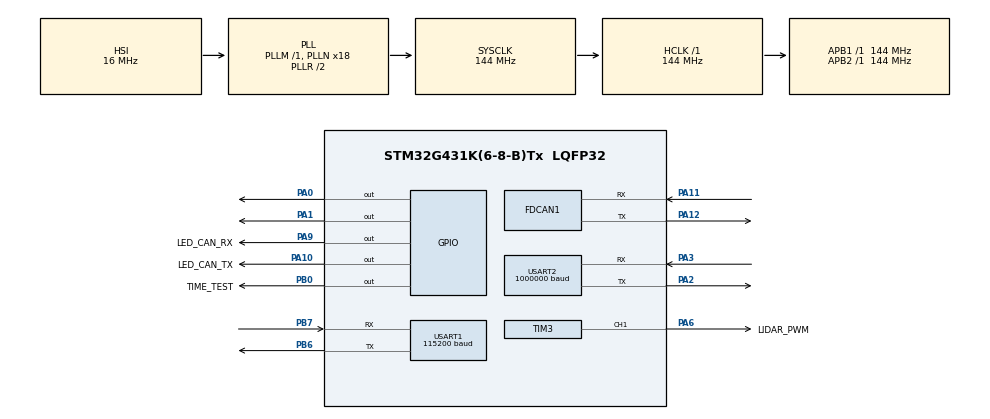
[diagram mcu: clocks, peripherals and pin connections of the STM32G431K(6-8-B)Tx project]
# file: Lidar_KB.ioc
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Dma.Request0=USART1_RX
Dma.Request1=USART1_TX
Dma.USART1_RX.0.Direction=DMA_PERIPH_TO_MEMORY
Dma.USART1_RX.0.EventEnable=DISABLE
Dma.USART1_RX.0.Instance=DMA1_Channel1
Dma.USART1_RX.0.MemDataAlignment=DMA_MDATAALIGN_BYTE
Dma.USART1_RX.0.MemInc=DMA_MINC_ENABLE
Dma.USART1_RX.0.Mode=DMA_CIRCULAR
Dma.USART1_RX.0.PeriphDataAlignment=DMA_PDATAALIGN_BYTE
Dma.USART1_RX.0.PeriphInc=DMA_PINC_DISABLE
Dma.USART1_RX.0.Polarity=HAL_DMAMUX_REQ_GEN_RISING
Dma.USART1_RX.0.Priority=DMA_PRIORITY_LOW
Dma.USART1_RX.0.RequestNumber=1
Dma.USART1_RX.0.SignalID=NONE
Dma.USART1_RX.0.SyncEnable=DISABLE
Dma.USART1_RX.0.SyncPolarity=HAL_DMAMUX_SYNC_NO_EVENT
Dma.USART1_RX.0.SyncRequestNumber=1
Dma.USART1_RX.0.SyncSignalID=NONE
Dma.USART1_TX.1.Direction=DMA_MEMORY_TO_PERIPH
Dma.USART1_TX.1.EventEnable=DISABLE
Dma.USART1_TX.1.Instance=DMA1_Channel2
Dma.USART1_TX.1.MemDataAlignment=DMA_MDATAALIGN_BYTE
Dma.USART1_TX.1.MemInc=DMA_MINC_ENABLE
Dma.USART1_TX.1.Mode=DMA_NORMAL
Dma.USART1_TX.1.PeriphDataAlignment=DMA_PDATAALIGN_BYTE
Dma.USART1_TX.1.PeriphInc=DMA_PINC_DISABLE
Dma.USART1_TX.1.Polarity=HAL_DMAMUX_REQ_GEN_RISING
Dma.USART1_TX.1.Priority=DMA_PRIORITY_LOW
Dma.USART1_TX.1.RequestNumber=1
Dma.USART1_TX.1.SignalID=NONE
Dma.USART1_TX.1.SyncEnable=DISABLE
Dma.USART1_TX.1.SyncPolarity=HAL_DMAMUX_SYNC_NO_EVENT
Dma.USART1_TX.1.SyncRequestNumber=1
Dma.USART1_TX.1.SyncSignalID=NONE
FDCAN1.CalculateBaudRateNominal=1800000
FDCAN1.CalculateTimeBitNominal=555
FDCAN1.CalculateTimeQuantumNominal=111.11111111111111
Mcu.Family=STM32G4
Mcu.Name=STM32G431K(6-8-B)Tx
Mcu.Package=LQFP32
NVIC.DMA1_Channel1_IRQn=true\:0\:0\:false\:false\:true\:false\:true\:true
NVIC.DMA1_Channel2_IRQn=true\:0\:0\:false\:false\:true\:false\:true\:true
NVIC.PriorityGroup=NVIC_PRIORITYGROUP_4
NVIC.TIM6_DAC_IRQn=true\:0\:0\:false\:false\:true\:true\:true\:true
NVIC.TIM7_IRQn=true\:0\:0\:false\:false\:true\:true\:true\:true
NVIC.USART1_IRQn=true\:0\:0\:false\:false\:true\:true\:true\:true
PA0.Signal=GPIO_Output
PA1.Signal=GPIO_Output
PA10.GPIO_Label=LED_CAN_TX
PA10.Signal=GPIO_Output
PA11.Mode=FDCAN_Activate
PA11.Signal=FDCAN1_RX
PA12.Mode=FDCAN_Activate
PA12.Signal=FDCAN1_TX
PA13.Mode=Trace_Asynchronous_SW
PA13.Signal=SYS_JTMS-SWDIO
PA14.Mode=Trace_Asynchronous_SW
PA14.Signal=SYS_JTCK-SWCLK
PA2.Mode=Asynchronous
PA2.Signal=USART2_TX
PA3.Mode=Asynchronous
PA3.Signal=USART2_RX
PA6.GPIO_Label=LIDAR_PWM
PA6.Signal=S_TIM3_CH1
PA9.GPIO_Label=LED_CAN_RX
PA9.Signal=GPIO_Output
PB0.GPIO_Label=TIME_TEST
PB0.Signal=GPIO_Output
PB3.Mode=Trace_Asynchronous_SW
PB3.Signal=SYS_JTDO-SWO
PB6.Mode=Asynchronous
PB6.Signal=USART1_TX
PB7.Mode=Asynchronous
PB7.Signal=USART1_RX
ProjectManager.HeapSize=0x200
ProjectManager.StackSize=0x400
ProjectManager.TargetToolchain=STM32CubeIDE
RCC.ADC12Freq_Value=144000000
RCC.AHBFreq_Value=144000000
RCC.APB1Freq_Value=144000000
RCC.APB1TimFreq_Value=144000000
RCC.APB2Freq_Value=144000000
RCC.APB2TimFreq_Value=144000000
RCC.CortexFreq_Value=144000000
RCC.EXTERNAL_CLOCK_VALUE=12288000
RCC.HCLKFreq_Value=144000000
RCC.HSE_VALUE=8000000
RCC.HSI48_VALUE=48000000
RCC.HSI_VALUE=16000000
RCC.LSE_VALUE=32768
RCC.PLLN=18
RCC.SYSCLKFreq_VALUE=144000000
RCC.SYSCLKSource=RCC_SYSCLKSOURCE_PLLCLK
RCC.USBFreq_Value=144000000
RCC.VCOOutputFreq_Value=288000000
SH.S_TIM3_CH1.0=TIM3_CH1,PWM Generation1 CH1
TIM3.Channel-PWM\ Generation1\ CH1=TIM_CHANNEL_1
TIM3.PeriodNoDither=5759
TIM6.PeriodNoDither=11999
TIM6.Prescaler=2
TIM7.PeriodNoDither=1439
TIM7.Prescaler=0
USART1.BaudRate=115200
USART1.VirtualMode-Asynchronous=VM_ASYNC
USART2.BaudRate=1000000
USART2.VirtualMode-Asynchronous=VM_ASYNC
VP_SYS_VS_DBSignals.Mode=DisableDeadBatterySignals
VP_TIM3_VS_ClockSourceINT.Mode=Internal
VP_TIM6_VS_ClockSourceINT.Mode=Enable_Timer
VP_TIM7_VS_ClockSourceINT.Mode=Enable_Timer
board=custom

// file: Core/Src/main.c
/* USER CODE BEGIN Header */
/**
  ******************************************************************************
  * @file           : main.c
  * @brief          : Main program body
  ******************************************************************************
  * @attention
  *
  * Copyright (c) 2024 STMicroelectronics.
  * All rights reserved.
  *
  * This software is licensed under terms that can be found in the LICENSE file
  * in the root directory of this software component.
  * If no LICENSE file comes with this software, it is provided AS-IS.
  *
  ******************************************************************************
  */
/* USER CODE END Header */
#include "main.h"

FDCAN_HandleTypeDef hfdcan1;

TIM_HandleTypeDef htim3;
TIM_HandleTypeDef htim6;
TIM_HandleTypeDef htim7;

UART_HandleTypeDef huart1;
UART_HandleTypeDef huart2;
DMA_HandleTypeDef hdma_usart1_rx;
DMA_HandleTypeDef hdma_usart1_tx;

void SystemClock_Config(void);
static void MX_GPIO_Init(void);
static void MX_DMA_Init(void);
static void MX_FDCAN1_Init(void);
static void MX_TIM3_Init(void);
static void MX_USART1_UART_Init(void);
static void MX_TIM6_Init(void);
static void MX_TIM7_Init(void);
static void MX_USART2_UART_Init(void);

int main(void)
{

  /* MCU Configuration--------------------------------------------------------*/

  /* Reset of all peripherals, Initializes the Flash interface and the Systick. */
  HAL_Init();

  /* Configure the system clock */
  SystemClock_Config();

  /* Initialize all configured peripherals */
  MX_GPIO_Init();
  MX_DMA_Init();
  MX_FDCAN1_Init();
  MX_TIM3_Init();
  MX_USART1_UART_Init();
  MX_TIM6_Init();
  MX_TIM7_Init();
  MX_USART2_UART_Init();
  /* USER CODE BEGIN 2 */
  HAL_UART_DMAStop(&huart1);
  HAL_NVIC_SetPriority(USART1_IRQn, 0, 0);
  HAL_NVIC_EnableIRQ(USART1_IRQn);

  Start_DMA(&huart1, 84);
  HAL_TIM_Base_Start_IT(&htim7);   /* Timer for  */
  /* USER CODE END 2 */

  /* Infinite loop */
  /* USER CODE BEGIN WHILE */
  // Lidar initialization
  // Lidar_Get_Samplerate(&huart1);
//  Lidar_Reset(&huart1);
//  HAL_Delay(5000);

  //Lidar_Get_Info(&huart1);
  //Lidar_Unknown(&huart1);
  //Lidar_Get_Info(&huart1);
  Lidar_Get_Health(&huart1);
  Lidar_Motor_Speed(&htim3, TIM_CHANNEL_1, 800, &htim6);
  //Lidar_Get_Lidar_Conf(&huart1, 0x01, 0x04, 0x00);
  Lidar_Stop(&huart1);

//  Debugging scan modes:

//  Lidar_Get_Lidar_Conf(&huart1, 0x70, 0x04, 0x00);
//  Lidar_Motor_Speed(&htim3, TIM_CHANNEL_1, 460);
//  Lidar_Stop(&huart1);
//  HAL_Delay(110);
//  Lidar_Get_Info(&huart1);
//  for(int i=0; i<5; i++){
//	  Lidar_Get_Lidar_Conf(&huart1, 0x71, 0x06, i);
//	  Lidar_Get_Lidar_Conf(&huart1, 0x74, 0x06, i);
//	  Lidar_Get_Lidar_Conf(&huart1, 0x75, 0x06, i);
//	  Lidar_Get_Lidar_Conf(&huart1, 0x7F, 0x06, i);
//	  Lidar_Get_Info(&huart1);
//  }

  Lidar_Get_Info(&huart1);
  //Lidar_Get_Info(&huart1);

  Lidar_Get_Lidar_Conf(&huart1, 0x01, 0x04, 0x00);

  //Lidar_Stop(&huart1);

  Lidar_Express_Scan(&huart1, &huart2, 0x00); // Legacy Express Scan

  uint32_t milis = HAL_GetTick();
  while (1)
  {
	if(HAL_GetTick() - milis > 10000) break;

	if(HAL_UART_GetError(&huart1) != HAL_OK){
		uint32_t error = HAL_UART_GetError(&huart1);
		break;
	}
    /* USER CODE END WHILE */

    /* USER CODE BEGIN 3 */
  }

  Lidar_Stop(&huart1);

  Lidar_Motor_Speed(&htim3, TIM_CHANNEL_1, 0, &htim6);
  Lidar_Motor_Stop(&htim3, TIM_CHANNEL_1);
  Lidar_Get_Health(&huart1);
  /* USER CODE END 3 */
}

void SystemClock_Config(void)
{
  RCC_OscInitTypeDef RCC_OscInitStruct = {0};
  RCC_ClkInitTypeDef RCC_ClkInitStruct = {0};

  /** Configure the main internal regulator output voltage
  */
  HAL_PWREx_ControlVoltageScaling(PWR_REGULATOR_VOLTAGE_SCALE1);

  /** Initializes the RCC Oscillators according to the specified parameters
  * in the RCC_OscInitTypeDef structure.
  */
  RCC_OscInitStruct.OscillatorType = RCC_OSCILLATORTYPE_HSI;
  RCC_OscInitStruct.HSIState = RCC_HSI_ON;
  RCC_OscInitStruct.HSICalibrationValue = RCC_HSICALIBRATION_DEFAULT;
  RCC_OscInitStruct.PLL.PLLState = RCC_PLL_ON;
  RCC_OscInitStruct.PLL.PLLSource = RCC_PLLSOURCE_HSI;
  RCC_OscInitStruct.PLL.PLLM = RCC_PLLM_DIV1;
  RCC_OscInitStruct.PLL.PLLN = 18;
  RCC_OscInitStruct.PLL.PLLP = RCC_PLLP_DIV2;
  RCC_OscInitStruct.PLL.PLLQ = RCC_PLLQ_DIV2;
  RCC_OscInitStruct.PLL.PLLR = RCC_PLLR_DIV2;
  if (HAL_RCC_OscConfig(&RCC_OscInitStruct) != HAL_OK)
  {
    Error_Handler();
  }

  /** Initializes the CPU, AHB and APB buses clocks
  */
  RCC_ClkInitStruct.ClockType = RCC_CLOCKTYPE_HCLK|RCC_CLOCKTYPE_SYSCLK
                              |RCC_CLOCKTYPE_PCLK1|RCC_CLOCKTYPE_PCLK2;
  RCC_ClkInitStruct.SYSCLKSource = RCC_SYSCLKSOURCE_PLLCLK;
  RCC_ClkInitStruct.AHBCLKDivider = RCC_SYSCLK_DIV1;
  RCC_ClkInitStruct.APB1CLKDivider = RCC_HCLK_DIV1;
  RCC_ClkInitStruct.APB2CLKDivider = RCC_HCLK_DIV1;

  if (HAL_RCC_ClockConfig(&RCC_ClkInitStruct, FLASH_LATENCY_4) != HAL_OK)
  {
    Error_Handler();
  }
}

static void MX_FDCAN1_Init(void)
{

  hfdcan1.Instance = FDCAN1;
  hfdcan1.Init.ClockDivider = FDCAN_CLOCK_DIV1;
  hfdcan1.Init.FrameFormat = FDCAN_FRAME_CLASSIC;
  hfdcan1.Init.Mode = FDCAN_MODE_NORMAL;
  hfdcan1.Init.AutoRetransmission = DISABLE;
  hfdcan1.Init.TransmitPause = DISABLE;
  hfdcan1.Init.ProtocolException = DISABLE;
  hfdcan1.Init.NominalPrescaler = 16;
  hfdcan1.Init.NominalSyncJumpWidth = 1;
  hfdcan1.Init.NominalTimeSeg1 = 2;
  hfdcan1.Init.NominalTimeSeg2 = 2;
  hfdcan1.Init.DataPrescaler = 1;
  hfdcan1.Init.DataSyncJumpWidth = 1;
  hfdcan1.Init.DataTimeSeg1 = 1;
  hfdcan1.Init.DataTimeSeg2 = 1;
  hfdcan1.Init.StdFiltersNbr = 0;
  hfdcan1.Init.ExtFiltersNbr = 0;
  hfdcan1.Init.TxFifoQueueMode = FDCAN_TX_FIFO_OPERATION;
  if (HAL_FDCAN_Init(&hfdcan1) != HAL_OK)
  {
    Error_Handler();
  }

}

static void MX_TIM3_Init(void)
{

  TIM_ClockConfigTypeDef sClockSourceConfig = {0};
  TIM_MasterConfigTypeDef sMasterConfig = {0};
  TIM_OC_InitTypeDef sConfigOC = {0};

  /* USER CODE BEGIN TIM3_Init 1 */
  // 25kHz PWM signal
  /* USER CODE END TIM3_Init 1 */
  htim3.Instance = TIM3;
  htim3.Init.Prescaler = 0;
  htim3.Init.CounterMode = TIM_COUNTERMODE_UP;
  htim3.Init.Period = 5759;
  htim3.Init.ClockDivision = TIM_CLOCKDIVISION_DIV1;
  htim3.Init.AutoReloadPreload = TIM_AUTORELOAD_PRELOAD_DISABLE;
  if (HAL_TIM_Base_Init(&htim3) != HAL_OK)
  {
    Error_Handler();
  }
  sClockSourceConfig.ClockSource = TIM_CLOCKSOURCE_INTERNAL;
  if (HAL_TIM_ConfigClockSource(&htim3, &sClockSourceConfig) != HAL_OK)
  {
    Error_Handler();
  }
  if (HAL_TIM_PWM_Init(&htim3) != HAL_OK)
  {
    Error_Handler();
  }
  sMasterConfig.MasterOutputTrigger = TIM_TRGO_RESET;
  sMasterConfig.MasterSlaveMode = TIM_MASTERSLAVEMODE_DISABLE;
  if (HAL_TIMEx_MasterConfigSynchronization(&htim3, &sMasterConfig) != HAL_OK)
  {
    Error_Handler();
  }
  sConfigOC.OCMode = TIM_OCMODE_PWM1;
  sConfigOC.Pulse = 0;
  sConfigOC.OCPolarity = TIM_OCPOLARITY_HIGH;
  sConfigOC.OCFastMode = TIM_OCFAST_DISABLE;
  if (HAL_TIM_PWM_ConfigChannel(&htim3, &sConfigOC, TIM_CHANNEL_1) != HAL_OK)
  {
    Error_Handler();
  }
  HAL_TIM_MspPostInit(&htim3);

}

static void MX_TIM6_Init(void)
{

  TIM_MasterConfigTypeDef sMasterConfig = {0};

  htim6.Instance = TIM6;
  htim6.Init.Prescaler = 2;
  htim6.Init.CounterMode = TIM_COUNTERMODE_UP;
  htim6.Init.Period = 11999;
  htim6.Init.AutoReloadPreload = TIM_AUTORELOAD_PRELOAD_DISABLE;
  if (HAL_TIM_Base_Init(&htim6) != HAL_OK)
  {
    Error_Handler();
  }
  sMasterConfig.MasterOutputTrigger = TIM_TRGO_RESET;
  sMasterConfig.MasterSlaveMode = TIM_MASTERSLAVEMODE_DISABLE;
  if (HAL_TIMEx_MasterConfigSynchronization(&htim6, &sMasterConfig) != HAL_OK)
  {
    Error_Handler();
  }

}

static void MX_TIM7_Init(void)
{

  TIM_MasterConfigTypeDef sMasterConfig = {0};

  htim7.Instance = TIM7;
  htim7.Init.Prescaler = 0;
  htim7.Init.CounterMode = TIM_COUNTERMODE_UP;
  htim7.Init.Period = 1439;
  htim7.Init.AutoReloadPreload = TIM_AUTORELOAD_PRELOAD_DISABLE;
  if (HAL_TIM_Base_Init(&htim7) != HAL_OK)
  {
    Error_Handler();
  }
  sMasterConfig.MasterOutputTrigger = TIM_TRGO_RESET;
  sMasterConfig.MasterSlaveMode = TIM_MASTERSLAVEMODE_DISABLE;
  if (HAL_TIMEx_MasterConfigSynchronization(&htim7, &sMasterConfig) != HAL_OK)
  {
    Error_Handler();
  }

}

static void MX_USART1_UART_Init(void)
{

  huart1.Instance = USART1;
  huart1.Init.BaudRate = 115200;
  huart1.Init.WordLength = UART_WORDLENGTH_8B;
  huart1.Init.StopBits = UART_STOPBITS_1;
  huart1.Init.Parity = UART_PARITY_NONE;
  huart1.Init.Mode = UART_MODE_TX_RX;
  huart1.Init.HwFlowCtl = UART_HWCONTROL_NONE;
  huart1.Init.OverSampling = UART_OVERSAMPLING_16;
  huart1.Init.OneBitSampling = UART_ONE_BIT_SAMPLE_DISABLE;
  huart1.Init.ClockPrescaler = UART_PRESCALER_DIV1;
  huart1.AdvancedInit.AdvFeatureInit = UART_ADVFEATURE_NO_INIT;
  if (HAL_UART_Init(&huart1) != HAL_OK)
  {
    Error_Handler();
  }
  if (HAL_UARTEx_SetTxFifoThreshold(&huart1, UART_TXFIFO_THRESHOLD_1_8) != HAL_OK)
  {
    Error_Handler();
  }
  if (HAL_UARTEx_SetRxFifoThreshold(&huart1, UART_RXFIFO_THRESHOLD_1_8) != HAL_OK)
  {
    Error_Handler();
  }
  if (HAL_UARTEx_DisableFifoMode(&huart1) != HAL_OK)
  {
    Error_Handler();
  }

}

static void MX_USART2_UART_Init(void)
{

  huart2.Instance = USART2;
  huart2.Init.BaudRate = 1000000;
  huart2.Init.WordLength = UART_WORDLENGTH_8B;
  huart2.Init.StopBits = UART_STOPBITS_1;
  huart2.Init.Parity = UART_PARITY_NONE;
  huart2.Init.Mode = UART_MODE_TX_RX;
  huart2.Init.HwFlowCtl = UART_HWCONTROL_NONE;
  huart2.Init.OverSampling = UART_OVERSAMPLING_16;
  huart2.Init.OneBitSampling = UART_ONE_BIT_SAMPLE_DISABLE;
  huart2.Init.ClockPrescaler = UART_PRESCALER_DIV1;
  huart2.AdvancedInit.AdvFeatureInit = UART_ADVFEATURE_NO_INIT;
  if (HAL_UART_Init(&huart2) != HAL_OK)
  {
    Error_Handler();
  }
  if (HAL_UARTEx_SetTxFifoThreshold(&huart2, UART_TXFIFO_THRESHOLD_1_8) != HAL_OK)
  {
    Error_Handler();
  }
  if (HAL_UARTEx_SetRxFifoThreshold(&huart2, UART_RXFIFO_THRESHOLD_1_8) != HAL_OK)
  {
    Error_Handler();
  }
  if (HAL_UARTEx_DisableFifoMode(&huart2) != HAL_OK)
  {
    Error_Handler();
  }

}

static void MX_DMA_Init(void)
{

  /* DMA controller clock enable */
  __HAL_RCC_DMAMUX1_CLK_ENABLE();
  __HAL_RCC_DMA1_CLK_ENABLE();

  /* DMA interrupt init */
  /* DMA1_Channel1_IRQn interrupt configuration */
  HAL_NVIC_SetPriority(DMA1_Channel1_IRQn, 0, 0);
  HAL_NVIC_EnableIRQ(DMA1_Channel1_IRQn);
  /* DMA1_Channel2_IRQn interrupt configuration */
  HAL_NVIC_SetPriority(DMA1_Channel2_IRQn, 0, 0);
  HAL_NVIC_EnableIRQ(DMA1_Channel2_IRQn);

}

static void MX_GPIO_Init(void)
{
  GPIO_InitTypeDef GPIO_InitStruct = {0};

  /* GPIO Ports Clock Enable */
  __HAL_RCC_GPIOA_CLK_ENABLE();
  __HAL_RCC_GPIOB_CLK_ENABLE();

  /*Configure GPIO pin Output Level */
  HAL_GPIO_WritePin(GPIOA, GPIO_PIN_0|GPIO_PIN_1|LED_CAN_RX_Pin|LED_CAN_TX_Pin, GPIO_PIN_RESET);

  /*Configure GPIO pin Output Level */
  HAL_GPIO_WritePin(TIME_TEST_GPIO_Port, TIME_TEST_Pin, GPIO_PIN_RESET);

  /*Configure GPIO pins : PA0 PA1 LED_CAN_RX_Pin LED_CAN_TX_Pin */
  GPIO_InitStruct.Pin = GPIO_PIN_0|GPIO_PIN_1|LED_CAN_RX_Pin|LED_CAN_TX_Pin;
  GPIO_InitStruct.Mode = GPIO_MODE_OUTPUT_PP;
  GPIO_InitStruct.Pull = GPIO_NOPULL;
  GPIO_InitStruct.Speed = GPIO_SPEED_FREQ_LOW;
  HAL_GPIO_Init(GPIOA, &GPIO_InitStruct);

  /*Configure GPIO pin : TIME_TEST_Pin */
  GPIO_InitStruct.Pin = TIME_TEST_Pin;
  GPIO_InitStruct.Mode = GPIO_MODE_OUTPUT_PP;
  GPIO_InitStruct.Pull = GPIO_NOPULL;
  GPIO_InitStruct.Speed = GPIO_SPEED_FREQ_LOW;
  HAL_GPIO_Init(TIME_TEST_GPIO_Port, &GPIO_InitStruct);

}

void Error_Handler(void)
{
  __disable_irq();
  while (1)
  {
  }
}
